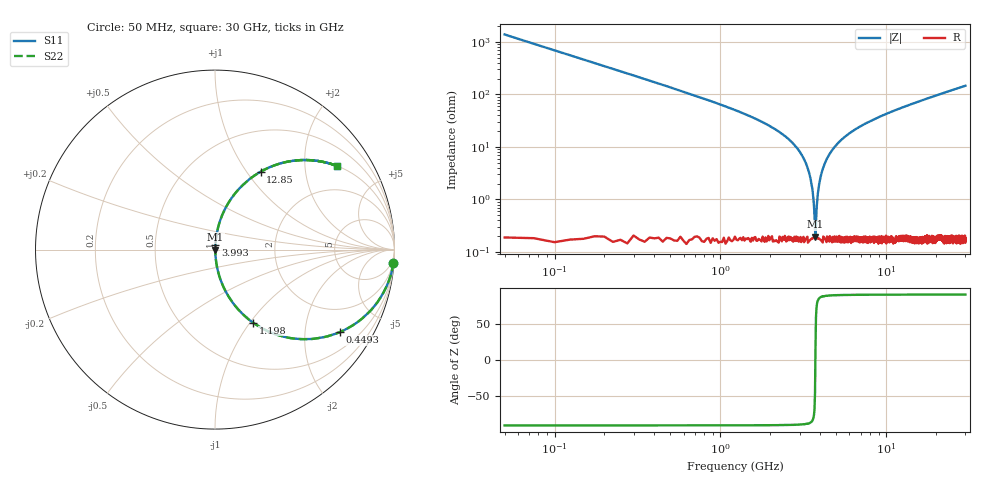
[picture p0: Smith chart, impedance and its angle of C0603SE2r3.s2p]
!	AVX Thin Film Operation 	Date: April 2014
!	Description: Accu-P® Series, Thin Film  SMD RF Capacitor
!	Part Number: 06031J2R3QBSTR
# MHZ S MA R 50
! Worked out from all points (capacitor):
!   1201 points, 50 MHz to 30 GHz, reference 50 ohm
!   read as one part in series: C = 2.3 pF near 199.8 MHz
!   lowest |Z| = 195 mohm at 3.744 GHz (marker M1)
!   series resonance near 3.739 GHz, so ESL is about 790 pH
!   S11 on the Smith chart (normalised r, x): 50 MHz: 1, -28; 449.3 MHz: 1.00, -3.04; 1.198 GHz: 1.00, -1.04; 3.993 GHz: 1.00, +0.05; 12.85 GHz: 1.00, +1.17; 30 GHz: 1.00, +2.92
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50  0.997 -4.1  0.072 85.9  0.072 85.9  0.997 -4.1
274.625  0.929 -21.7  0.371 68.2  0.371 68.2  0.929 -21.7
449.333  0.835 -33.4  0.55 56.6  0.55 56.6  0.835 -33.4
823.708  0.624 -51.3  0.78 38.6  0.78 38.6  0.624 -51.3
1198.083  0.459 -62.5  0.887 27.4  0.887 27.4  0.459 -62.5
2396.083  0.167 -79.8  0.984 9.6  0.984 9.6  0.167 -79.8
3045  0.076 -84.3  0.995 4.4  0.995 4.4  0.076 -84.3
3394.417  0.036 -85.2  0.998 2.0  0.998 2.0  0.036 -85.2
3519.208  0.022 -84.2  0.998 1.3  0.998 1.3  0.022 -84.2
3644  0.009618 -79.0  0.998 0.5  0.998 0.5  0.009618 -79.0
3743.833  0.001826 16.9  0.998 -0.0  0.998 -0.0  0.001826 16.9
3843.667  0.01 79.7  0.998 -0.6  0.998 -0.6  0.01 79.7
3993.417  0.024 84.5  0.998 -1.4  0.998 -1.4  0.024 84.5
4342.833  0.056 85.0  0.997 -3.2  0.997 -3.2  0.056 85.0
5041.667  0.111 82.7  0.992 -6.4  0.992 -6.4  0.111 82.7
6888.583  0.234 76.1  0.971 -13.5  0.971 -13.5  0.234 76.1
10058.29  0.394 66.6  0.918 -23.2  0.918 -23.2  0.394 66.6
12853.62  0.503 59.6  0.863 -30.2  0.863 -30.2  0.503 59.6
15025  0.572 55.0  0.819 -34.9  0.819 -34.9  0.572 55.0
20016.67  0.691 46.2  0.722 -43.7  0.722 -43.7  0.691 46.2
25033.29  0.771 39.5  0.636 -50.4  0.636 -50.4  0.771 39.5
30000  0.825 34.3  0.564 -55.6  0.564 -55.6  0.825 34.3
